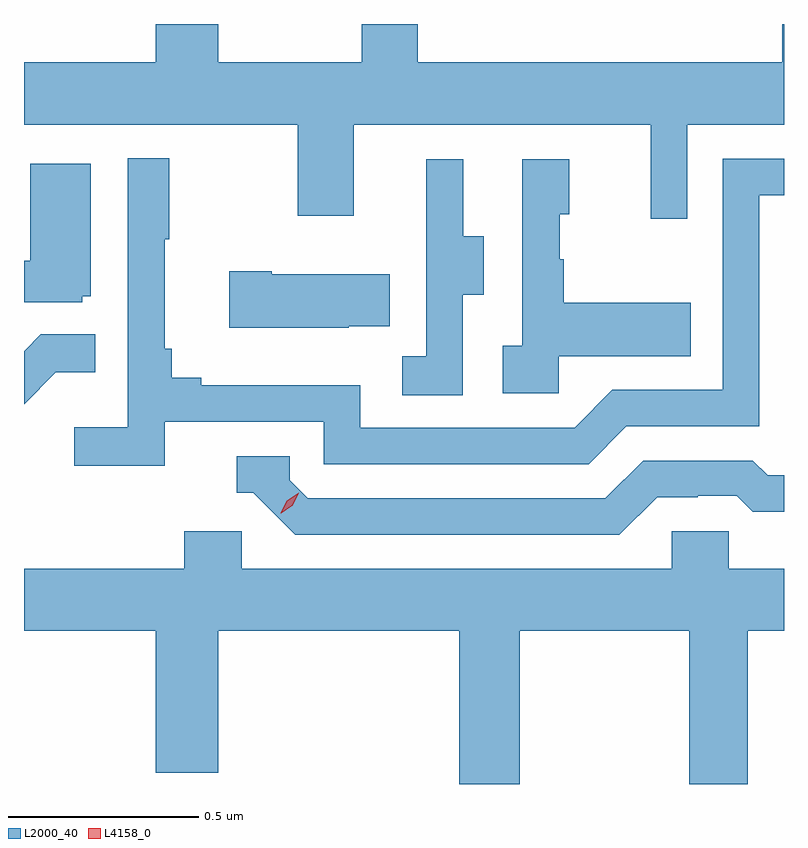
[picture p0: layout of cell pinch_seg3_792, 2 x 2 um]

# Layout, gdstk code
import gdstk
lib = gdstk.Library(unit=1e-6, precision=1e-09)
def P(c, l, *ps):  # polygons
    for p in ps: c.add(gdstk.Polygon(p, *l))
L2000_40 = (2000, 40)
L4158_0 = (4158, 0)

pinch_seg3_792 = lib.new_cell('pinch_seg3_792')
P(pinch_seg3_792, L2000_40, [(825.747,739.544),(826.001,739.544),(826.001,739.809),(825.997,739.809),(825.997,739.708),(825.037,739.708),(825.037,739.809),(824.89,739.809),(824.89,739.708),(824.512,739.708),(824.512,739.809),(824.348,739.809),(824.348,739.708),(824.001,739.708),(824.001,739.544),(824.722,739.544),(824.722,739.305),(824.869,739.305),(824.869,739.544),(825.65,739.544),(825.65,739.296),(825.747,739.296)],
  [(824.372,738.762),(824.79,738.762),(824.79,738.651),(825.487,738.651),(825.586,738.75),(825.936,738.75),(825.936,739.359),(826.001,739.359),(826.001,739.455),(825.84,739.455),(825.84,738.846),(825.549,738.846),(825.45,738.747),(824.886,738.747),(824.886,738.859),(824.467,738.859),(824.467,738.878),(824.39,738.878),(824.39,738.955),(824.371,738.955),(824.371,739.243),(824.383,739.243),(824.383,739.456),(824.274,739.456),(824.274,738.748),(824.133,738.748),(824.133,738.646),(824.372,738.646)],
  [(825.408,738.935),(825.755,738.935),(825.755,739.075),(825.421,739.075),(825.421,739.19),(825.411,739.19),(825.411,739.308),(825.436,739.308),(825.436,739.453),(825.312,739.453),(825.312,738.962),(825.261,738.962),(825.261,738.837),(825.408,738.837)],
  [(825.156,739.096),(825.211,739.096),(825.211,739.251),(825.157,739.251),(825.157,739.453),(825.059,739.453),(825.059,739.239),(825.06,739.239),(825.06,738.935),(824.997,738.935),(824.997,738.832),(825.156,738.832)],
  [(824.154,739.092),(824.176,739.092),(824.176,739.441),(824.018,739.441),(824.018,739.186),(824.001,739.186),(824.001,739.077),(824.154,739.077)],
  [(824.855,739.013),(824.963,739.013),(824.963,739.15),(824.653,739.15),(824.653,739.158),(824.541,739.158),(824.541,739.01),(824.855,739.01)],
  [(824.085,738.893),(824.189,738.893),(824.189,738.992),(824.045,738.992),(824.001,738.948),(824.001,738.809)],
  [(825.667,738.564),(825.774,738.564),(825.774,738.567),(825.877,738.567),(825.919,738.525),(826.001,738.525),(826.001,738.621),(825.958,738.621),(825.919,738.66),(825.63,738.66),(825.531,738.561),(824.748,738.561),(824.7,738.609),(824.7,738.672),(824.561,738.672),(824.561,738.576),(824.604,738.576),(824.715,738.465),(825.568,738.465)],
  [(825.306,738.212),(825.751,738.212),(825.751,737.809),(825.906,737.809),(825.906,738.212),(826.001,738.212),(826.001,738.376),(825.855,738.376),(825.855,738.474),(825.705,738.474),(825.705,738.376),(824.574,738.376),(824.574,738.474),(824.423,738.474),(824.423,738.376),(824.001,738.376),(824.001,738.212),(824.348,738.212),(824.348,737.838),(824.512,737.838),(824.512,738.212),(825.146,738.212),(825.146,737.809),(825.306,737.809)])
P(pinch_seg3_792, L4158_0, [(824.677,738.522),(824.677,738.522),(824.693,738.555),(824.724,738.575),(824.724,738.575),(824.724,738.575),(824.708,738.542),(824.678,738.522)])

lib.write_gds('pinch_seg3_792.gds')
